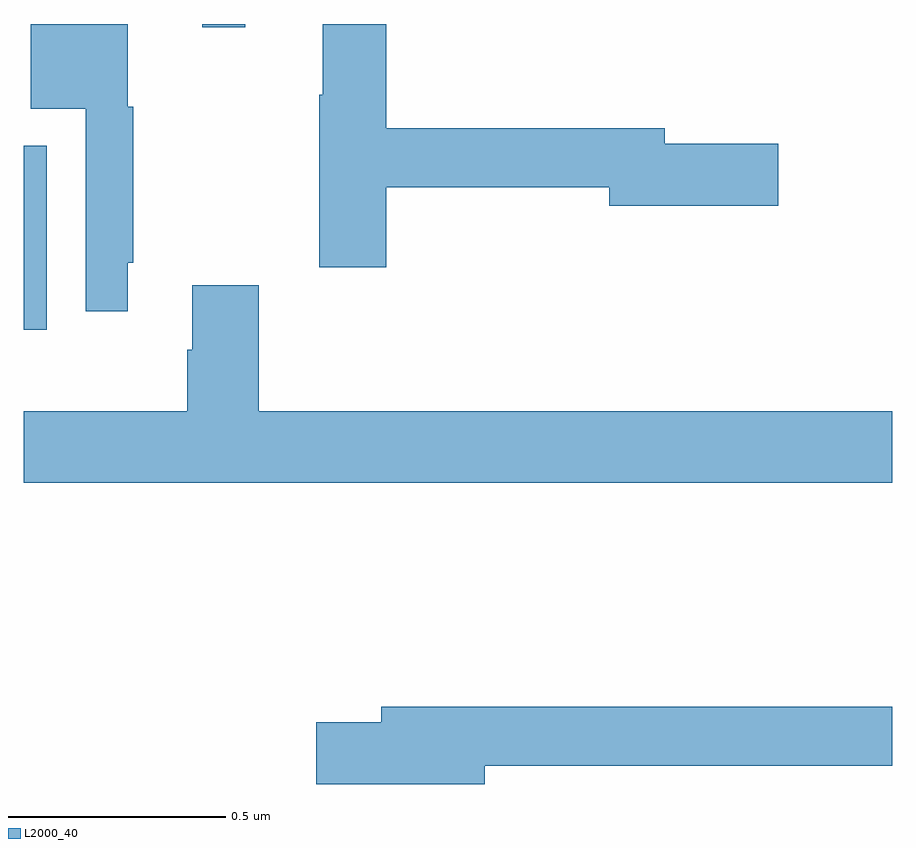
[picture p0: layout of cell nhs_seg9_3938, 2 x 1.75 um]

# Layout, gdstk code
import gdstk
lib = gdstk.Library(unit=1e-6, precision=1e-09)
def R(c, l, rs):  # rectangles x0, y0, x1, y1
    for r in rs: c.add(gdstk.rectangle(r[:2], r[2:], *l))
def P(c, l, *ps):  # polygons
    for p in ps: c.add(gdstk.Polygon(p, *l))
L2000_40 = (2000, 40)

nhs_seg9_3938 = lib.new_cell('nhs_seg9_3938')
R(nhs_seg9_3938, L2000_40, [(160,1172.796,160.053,1173.22), (160.411,1173.492,160.51,1173.5)])
P(nhs_seg9_3938, L2000_40, [(160.835,1173.124),(161.348,1173.124),(161.348,1173.082),(161.737,1173.082),(161.737,1173.224),(161.476,1173.224),(161.476,1173.26),(160.835,1173.26),(160.835,1173.5),(160.688,1173.5),(160.688,1173.337),(160.681,1173.337),(160.681,1172.94),(160.835,1172.94)],
  [(160.24,1172.95),(160.252,1172.95),(160.252,1173.309),(160.24,1173.309),(160.24,1173.5),(160.016,1173.5),(160.016,1173.305),(160.143,1173.305),(160.143,1172.838),(160.24,1172.838)],
  [(162,1172.608),(160.541,1172.608),(160.541,1172.899),(160.388,1172.899),(160.388,1172.75),(160.376,1172.75),(160.376,1172.608),(160,1172.608),(160,1172.444),(162,1172.444)],
  [(161.062,1171.792),(162,1171.792),(162,1171.928),(160.823,1171.928),(160.823,1171.892),(160.674,1171.892),(160.674,1171.75),(161.062,1171.75)])

lib.write_gds('nhs_seg9_3938.gds')
